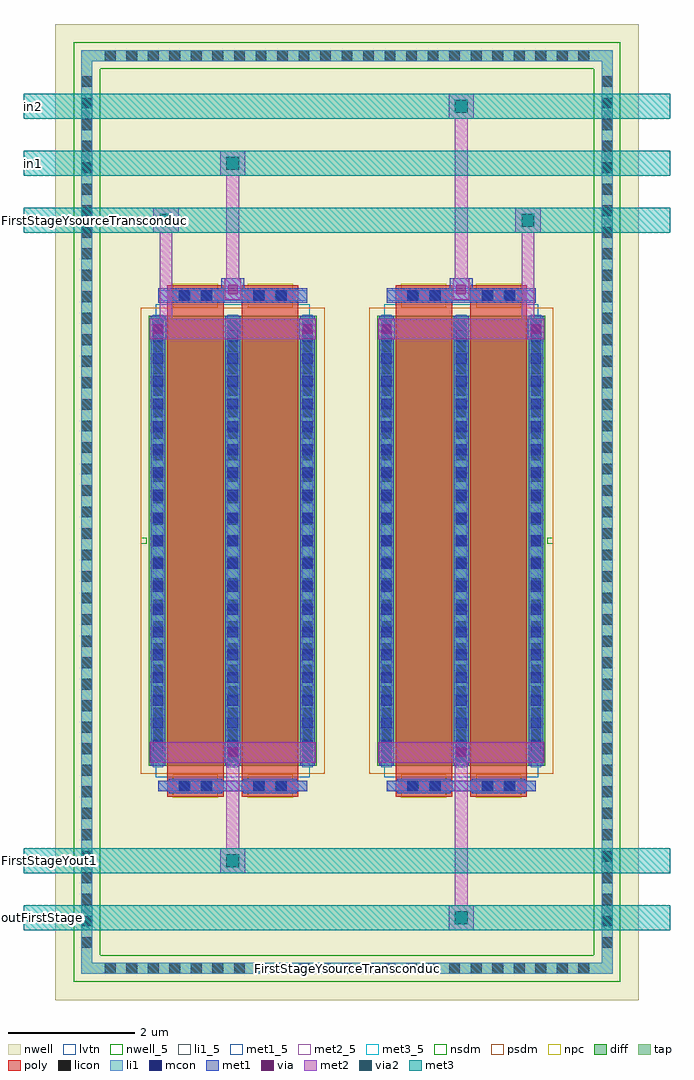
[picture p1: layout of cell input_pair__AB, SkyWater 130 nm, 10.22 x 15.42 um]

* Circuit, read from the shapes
.subckt input_pair__AB FirstStageYout1 FirstStageYsourceTransconductance FirstStageYsourceTransconductance_body in1 in2 outFirstStage
XM1 FirstStageYout1 in1 FirstStageYsourceTransconductance FirstStageYsourceTransconductance_body sky130_fd_pr__pfet_01v8_lvt w=7.11 l=0.89 m=2
XM2 outFirstStage in2 FirstStageYsourceTransconductance FirstStageYsourceTransconductance_body sky130_fd_pr__pfet_01v8_lvt w=7.11 l=0.89 m=2
.ends

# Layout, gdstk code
from math import pi, radians
import gdstk
lib = gdstk.Library(unit=1e-6, precision=1e-09)
def R(c, l, rs):  # rectangles x0, y0, x1, y1
    for r in rs: c.add(gdstk.rectangle(r[:2], r[2:], *l))
def A(c, l, x, y, w, h, nx, ny, dx, dy):  # array of equal rectangles
    R(c, l, [(x+i*dx, y+j*dy, x+i*dx+w, y+j*dy+h) for i in range(nx) for j in range(ny)])
nwell_5 = (64, 5)
nwell = (64, 20)
diff = (65, 20)
tap = (65, 44)
poly = (66, 20)
licon = (66, 44)
li1_5 = (67, 5)
li1 = (67, 20)
mcon = (67, 44)
met1_5 = (68, 5)
met1 = (68, 20)
via = (68, 44)
met2_5 = (69, 5)
met2 = (69, 20)
via2 = (69, 44)
met3_5 = (70, 5)
met3 = (70, 20)
nsdm = (93, 44)
psdm = (94, 20)
npc = (95, 20)
lvtn = (125, 44)

sky130_fd_pr__pfet_01v8_ = lib.new_cell('sky130_fd_pr__pfet_01v8_lvt_ZLA3LR')
R(sky130_fd_pr__pfet_01v8_, nwell, [(-1.505,-4.055,1.505,4.055)])
R(sky130_fd_pr__pfet_01v8_, diff, [(-1.325,-3.555,1.325,3.555)])
R(sky130_fd_pr__pfet_01v8_, poly, [(-1.035,-4.04,-0.145,4.04), (0.145,-4.04,1.035,4.04)])
A(sky130_fd_pr__pfet_01v8_, licon, -1.265, -3.485, 0.17, 0.17, 3, 21, 1.18, 0.34)
R(sky130_fd_pr__pfet_01v8_, licon, [(-0.845,-3.96,-0.675,-3.79), (-0.505,-3.96,-0.335,-3.79), (0.335,-3.96,0.505,-3.79), (0.675,-3.96,0.845,-3.79), (-0.845,3.79,-0.675,3.96), (-0.505,3.79,-0.335,3.96), (0.335,3.79,0.505,3.96), (0.675,3.79,0.845,3.96)])
A(sky130_fd_pr__pfet_01v8_, li1, -1.265, -3.575, 0.17, 7.15, 3, 1, 1.18, 0)
R(sky130_fd_pr__pfet_01v8_, li1, [(-1.18,-3.96,1.18,-3.79), (-1.18,3.79,1.18,3.96)])
A(sky130_fd_pr__pfet_01v8_, mcon, -1.265, -3.325, 0.17, 0.17, 3, 19, 1.18, 0.36)
R(sky130_fd_pr__pfet_01v8_, mcon, [(-0.855,-3.96,-0.685,-3.79), (-0.495,-3.96,-0.325,-3.79), (0.325,-3.96,0.495,-3.79), (0.685,-3.96,0.855,-3.79), (-0.855,3.79,-0.685,3.96), (-0.495,3.79,-0.325,3.96), (0.325,3.79,0.495,3.96), (0.685,3.79,0.855,3.96)])
A(sky130_fd_pr__pfet_01v8_, met1, -1.295, -3.555, 0.23, 7.11, 3, 1, 1.18, 0)
R(sky130_fd_pr__pfet_01v8_, met1, [(-1.015,-3.99,-0.165,-3.96), (0.165,-3.99,1.015,-3.96), (-1.18,-3.96,1.18,-3.79), (-1.015,-3.79,-0.165,-3.76), (0.165,-3.79,1.015,-3.76), (-1.015,3.76,-0.165,3.79), (0.165,3.76,1.015,3.79), (-1.18,3.79,1.18,3.96), (-1.015,3.96,-0.165,3.99), (0.165,3.96,1.015,3.99)])
R(sky130_fd_pr__pfet_01v8_, psdm, [(-1.45,-3.68,1.45,3.68)])
R(sky130_fd_pr__pfet_01v8_, npc, [(-0.945,-4.06,-0.235,-3.69), (0.235,-4.06,0.945,-3.69), (-0.945,3.69,-0.235,4.06), (0.235,3.69,0.945,4.06)])
R(sky130_fd_pr__pfet_01v8_, lvtn, [(-1.215,-3.735,1.215,3.735)])
sky130_fd_pr__pfet_01v8_.add(gdstk.Label('D0', (-1.18,0), layer=67, texttype=5))
sky130_fd_pr__pfet_01v8_.add(gdstk.Label('G', (0.59,3.875), layer=67, texttype=5))
sky130_fd_pr__pfet_01v8_.add(gdstk.Label('G', (-0.59,3.875), layer=67, texttype=5))
sky130_fd_pr__pfet_01v8_.add(gdstk.Label('S1', (0,0), layer=67, texttype=5))

pfet_01v8_lvt_w14p21_l0p = lib.new_cell('pfet_01v8_lvt_W14p21_L0p89_m1__nf2_gboth_sdfull_outS_ng')
R(pfet_01v8_lvt_w14p21_l0p, nwell_5, [(0.05,4.005,0.15,4.105)])
R(pfet_01v8_lvt_w14p21_l0p, nwell, [(0.05,4.005,0.15,4.105)])
R(pfet_01v8_lvt_w14p21_l0p, met1_5, [(0.325,7.815,2.685,8.045)])
R(pfet_01v8_lvt_w14p21_l0p, met1, [(1.375,0.55,1.635,0.87), (0.195,7.24,0.455,7.56), (2.555,7.24,2.815,7.56), (0.325,7.815,2.685,8.045)])
R(pfet_01v8_lvt_w14p21_l0p, via, [(1.43,0.635,1.58,0.785), (0.25,7.325,0.4,7.475), (2.61,7.325,2.76,7.475)])
R(pfet_01v8_lvt_w14p21_l0p, met2_5, [(0.19,0.55,2.82,0.87), (0.19,7.24,2.82,7.56)])
R(pfet_01v8_lvt_w14p21_l0p, met2, [(0.19,0.55,2.82,0.87), (0.19,7.24,2.82,7.56)])
pfet_01v8_lvt_w14p21_l0p.add(gdstk.Reference(sky130_fd_pr__pfet_01v8_, (1.505,4.055)))
pfet_01v8_lvt_w14p21_l0p.add(gdstk.Label('S', (1.505,7.4), layer=69, texttype=5))
pfet_01v8_lvt_w14p21_l0p.add(gdstk.Label('D', (1.505,0.71), layer=69, texttype=5))
pfet_01v8_lvt_w14p21_l0p.add(gdstk.Label('G', (1.505,7.93), layer=68, texttype=5))
pfet_01v8_lvt_w14p21_l0p.add(gdstk.Label('B', (0.1,4.055), layer=64, texttype=5))

input_pair__ab = lib.new_cell('input_pair__AB')
R(input_pair__ab, nwell, [(-1.3,-3.2,7.92,12.22)])
R(input_pair__ab, tap, [(-0.885,-2.785,7.505,-2.615), (-0.885,-2.615,-0.715,11.635), (7.335,-2.615,7.505,11.635), (-0.885,11.635,7.505,11.805)])
A(input_pair__ab, licon, -0.515, -2.785, 0.17, 0.17, 23, 2, 0.34, 14.42)
A(input_pair__ab, licon, -0.885, -2.375, 0.17, 0.17, 1, 41, 0, 0.34)
A(input_pair__ab, licon, 7.335, -2.375, 0.17, 0.17, 1, 41, 0, 0.34)
R(input_pair__ab, li1_5, [(3.26,-2.75,3.36,-2.65)])
R(input_pair__ab, li1, [(-0.885,-2.785,7.505,-2.615), (-0.885,-2.615,-0.715,11.635), (7.335,-2.615,7.505,11.635), (-0.885,11.635,7.505,11.805)])
R(input_pair__ab, met1, [(1.325,7.845,1.685,8.205), (4.935,7.845,5.295,8.205)])
R(input_pair__ab, via, [(1.43,7.95,1.58,8.1), (5.04,7.95,5.19,8.1)])
R(input_pair__ab, met2, [(4.915,-2.1,5.315,-1.7), (5.015,-1.7,5.215,0.65), (1.305,-1.2,1.705,-0.8), (1.405,-0.8,1.605,0.65), (0.35,7.46,0.55,8.92), (6.07,7.46,6.27,8.92), (1.375,7.865,1.635,8.185), (4.985,7.865,5.245,8.185), (1.405,8.185,1.605,9.82), (5.015,8.185,5.215,10.72), (0.25,8.92,0.65,9.32), (5.97,8.92,6.37,9.32), (1.305,9.82,1.705,10.22), (4.915,10.72,5.315,11.12)])
R(input_pair__ab, via2, [(5.015,-2,5.215,-1.8), (1.405,-1.1,1.605,-0.9), (0.35,9.02,0.55,9.22), (6.07,9.02,6.27,9.22), (1.405,9.92,1.605,10.12), (5.015,10.82,5.215,11.02)])
A(input_pair__ab, met3_5, -1.7, 9.07, 0.1, 0.1, 1, 3, 0, 0.9)
R(input_pair__ab, met3_5, [(-1.7,-1.95,-1.6,-1.85), (-1.7,-1.05,-1.6,-0.95)])
A(input_pair__ab, met3, -1.8, 8.92, 10.22, 0.4, 1, 3, 0, 0.9)
R(input_pair__ab, met3, [(-1.8,-2.1,8.42,-1.7), (-1.8,-1.2,8.42,-0.8)])
R(input_pair__ab, nsdm, [(-1.01,-2.91,7.63,-2.49), (-1.01,-2.49,-0.59,11.51), (7.21,-2.49,7.63,11.51), (-1.01,11.51,7.63,11.93)])
input_pair__ab.add(gdstk.Reference(pfet_01v8_lvt_w14p21_l0p, (0,0)))
input_pair__ab.add(gdstk.Reference(pfet_01v8_lvt_w14p21_l0p, (6.62,0), rotation=pi, x_reflection=True))
input_pair__ab.add(gdstk.Label('FirstStageYsourceTransconductance', (-1.65,9.12), layer=70, texttype=5))
input_pair__ab.add(gdstk.Label('in1', (-1.65,10.02), layer=70, texttype=5))
input_pair__ab.add(gdstk.Label('in2', (-1.65,10.92), layer=70, texttype=5))
input_pair__ab.add(gdstk.Label('FirstStageYout1', (-1.65,-1), layer=70, texttype=5))
input_pair__ab.add(gdstk.Label('outFirstStage', (-1.65,-1.9), layer=70, texttype=5))
input_pair__ab.add(gdstk.Label('FirstStageYsourceTransconductance_body', (3.31,-2.7), layer=67, texttype=5))

lib.write_gds('input_pair__AB.gds')
